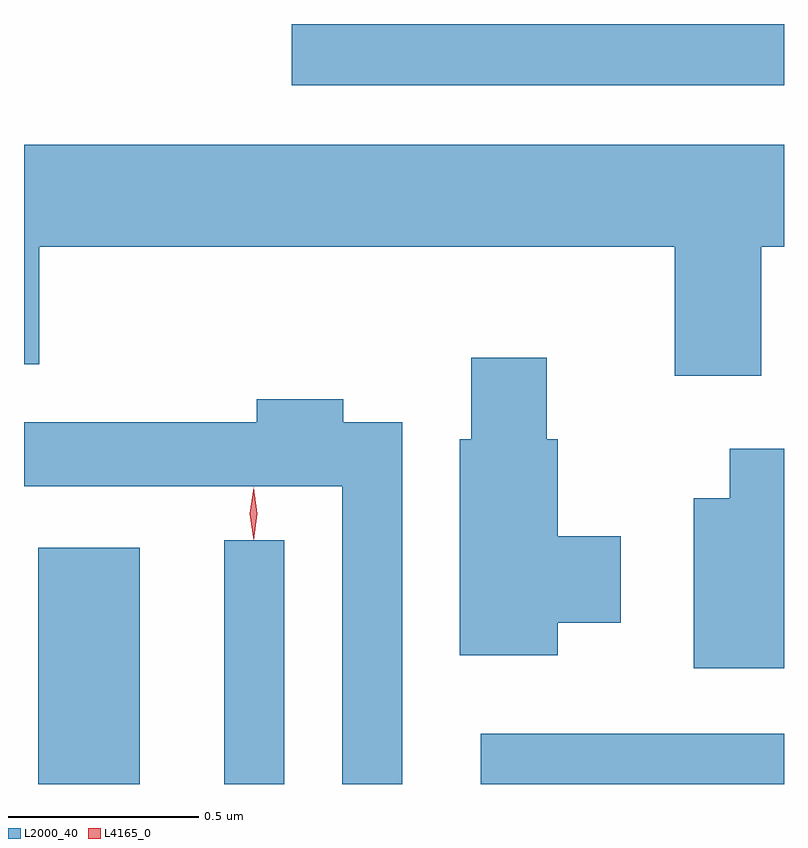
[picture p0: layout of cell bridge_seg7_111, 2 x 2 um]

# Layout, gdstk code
import gdstk
lib = gdstk.Library(unit=1e-6, precision=1e-09)
def R(c, l, rs):  # rectangles x0, y0, x1, y1
    for r in rs: c.add(gdstk.rectangle(r[:2], r[2:], *l))
def P(c, l, *ps):  # polygons
    for p in ps: c.add(gdstk.Polygon(p, *l))
L2000_40 = (2000, 40)
L4165_0 = (4165, 0)

bridge_seg7_111 = lib.new_cell('bridge_seg7_111')
R(bridge_seg7_111, L2000_40, [(1500.646,1759.522,1500.914,1760.144), (1501.136,1759.522,1501.294,1760.163), (1501.811,1759.522,1502.609,1759.654), (1501.313,1761.361,1502.609,1761.522)])
P(bridge_seg7_111, L2000_40, [(1502.549,1760.936),(1502.609,1760.936),(1502.609,1761.204),(1500.609,1761.204),(1500.609,1760.626),(1500.649,1760.626),(1500.649,1760.936),(1502.321,1760.936),(1502.321,1760.596),(1502.549,1760.596)],
  [(1502.014,1759.946),(1502.179,1759.946),(1502.179,1760.174),(1502.014,1760.174),(1502.014,1760.429),(1501.984,1760.429),(1501.984,1760.644),(1501.786,1760.644),(1501.786,1760.429),(1501.756,1760.429),(1501.756,1759.861),(1502.014,1759.861)],
  [(1501.604,1760.474),(1501.449,1760.474),(1501.449,1760.534),(1501.221,1760.534),(1501.221,1760.474),(1500.609,1760.474),(1500.609,1760.306),(1501.446,1760.306),(1501.446,1759.522),(1501.604,1759.522)],
  [(1502.609,1760.404),(1502.466,1760.404),(1502.466,1760.274),(1502.371,1760.274),(1502.371,1759.826),(1502.609,1759.826)])
P(bridge_seg7_111, L4165_0, [(1501.213,1760.164),(1501.213,1760.164),(1501.203,1760.233),(1501.213,1760.302),(1501.213,1760.303),(1501.214,1760.302),(1501.223,1760.233),(1501.214,1760.164)])

lib.write_gds('bridge_seg7_111.gds')
